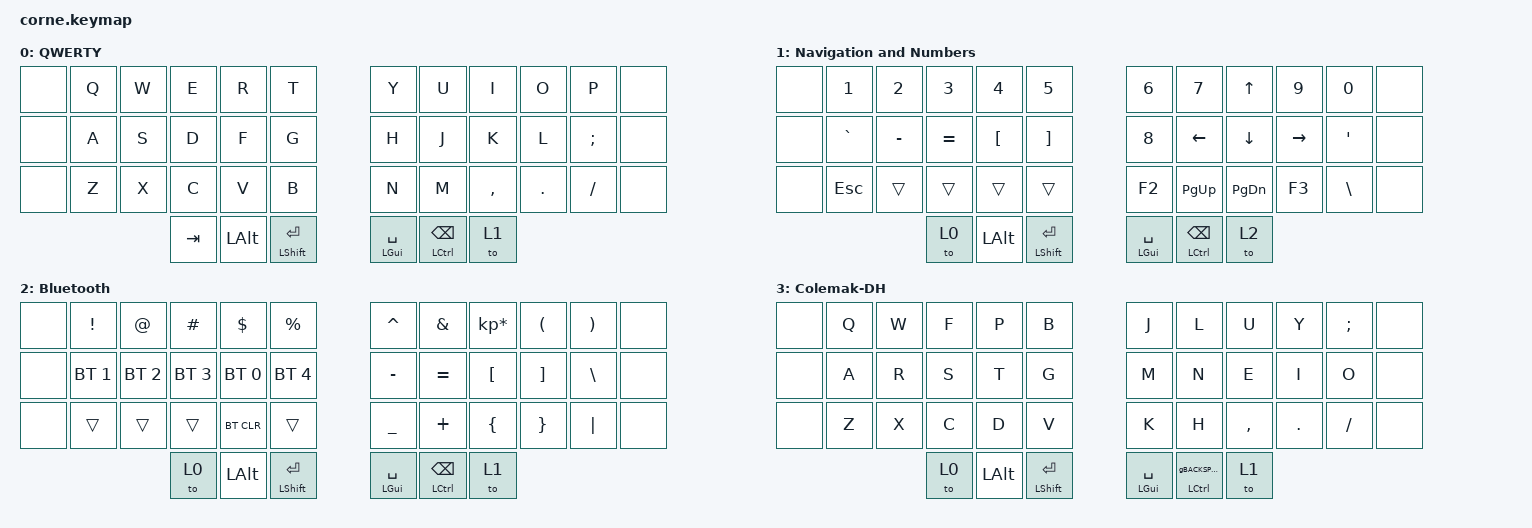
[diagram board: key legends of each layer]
/*
 * Copyright (c) 2020 The ZMK Contributors
 *
 * SPDX-License-Identifier: MIT
 */

/* Testing magit/forge via Emacs */

#include <behaviors.dtsi>
#include <dt-bindings/zmk/bt.h>
#include <dt-bindings/zmk/keys.h>

/ {
    combos {
        compatible = "zmk,combos";

        esc_combo {
            bindings = <&kp ESCAPE>;
            key-positions = <1 2>;
            layers = <0 1 2 3>;
            slow-release;
        };

        emacs_undo_combo {
            bindings = <&kp LS(LC(UNDER))>;
            key-positions = <37 40>;
            slow-release;
            layers = <0 1 3 2>;
        };
    };

    keymap {
        compatible = "zmk,keymap";

        QWERTY {
            bindings = <
&none  &kp Q  &kp W    &kp E      &kp R                 &kp T                 &kp Y               &kp U      &kp I    &kp O     &kp P  &none
&none  &kp A  &kp S    &kp D      &kp F                 &kp G                 &kp H               &kp J      &kp K    &kp L  &kp SEMI  &none
&none  &kp Z  &kp X    &kp C      &kp V                 &kp B                 &kp N               &kp M  &kp COMMA  &kp DOT  &kp FSLH  &none
                     &kp TAB  &kp LEFT_ALT   &mt LEFT_SHIFT ENTER    &mt LEFT_GUI SPACE  &mt LEFT_CONTROL BACKSPACE      &to 1
            >;

            label = "QWERTY";
        };

        NAV_NUM {
            bindings = <
&none      &kp N1  &kp NUMBER_2  &kp NUMBER_3            &kp N4                &kp N5          &kp NUMBER_6                  &kp N7    &kp UP_ARROW  &kp NUMBER_9      &kp NUMBER_0  &none
&none   &kp GRAVE     &kp MINUS     &kp EQUAL  &kp LEFT_BRACKET     &kp RIGHT_BRACKET                &kp N8          &kp LEFT_ARROW  &kp DOWN_ARROW     &kp RIGHT  &kp SINGLE_QUOTE  &none
&none  &kp ESCAPE        &trans        &trans            &trans                &trans                &kp F2             &kp PAGE_UP   &kp PAGE_DOWN        &kp F3     &kp BACKSLASH  &none
                                        &to 0  &kp LEFT_ALT  &mt LEFT_SHIFT ENTER    &mt LEFT_GUI SPACE  &mt LEFT_CONTROL BACKSPACE           &to 2
            >;

            label = "Navigation and Numbers";
        };

        BLUETOOTH {
            bindings = <
&none      &kp EXCL        &kp AT      &kp HASH          &kp DLLR             &kp PRCNT             &kp CARET                &kp AMPS  &kp KP_MULTIPLY  &kp LPAR  &kp RPAR  &none
&none  &bt BT_SEL 1  &bt BT_SEL 2  &bt BT_SEL 3      &bt BT_SEL 0          &bt BT_SEL 4             &kp MINUS               &kp EQUAL         &kp LBKT  &kp RBKT  &kp BSLH  &none
&none        &trans        &trans        &trans        &bt BT_CLR                &trans             &kp UNDER                &kp PLUS         &kp LBRC  &kp RBRC  &kp PIPE  &none
                                          &to 0  &kp LEFT_ALT  &mt LEFT_SHIFT ENTER    &mt LEFT_GUI SPACE  &mt LEFT_CONTROL BACKSPACE            &to 1
            >;

            label = "Bluetooth";
        };

        COLEMAKDH {
            bindings = <
&none  &kp Q  &kp W  &kp F             &kp P                 &kp B                 &kp J                   &kp L      &kp U       &kp Y  &kp SEMICOLON  &none
&none  &kp A  &kp R  &kp S             &kp T                 &kp G                 &kp M                   &kp N      &kp E       &kp I          &kp O  &none
&none  &kp Z  &kp X  &kp C             &kp D                 &kp V                 &kp K                   &kp H  &kp COMMA  &kp PERIOD      &kp SLASH  &none
                     &to 0  &kp LEFT_ALT  &mt LEFT_SHIFT ENTER    &mt LEFT_GUI SPACE  &mt LEFT_CONTROL gBACKSPACE      &to 1
            >;
            label = "Colemak-DH";
        };

    };
};
